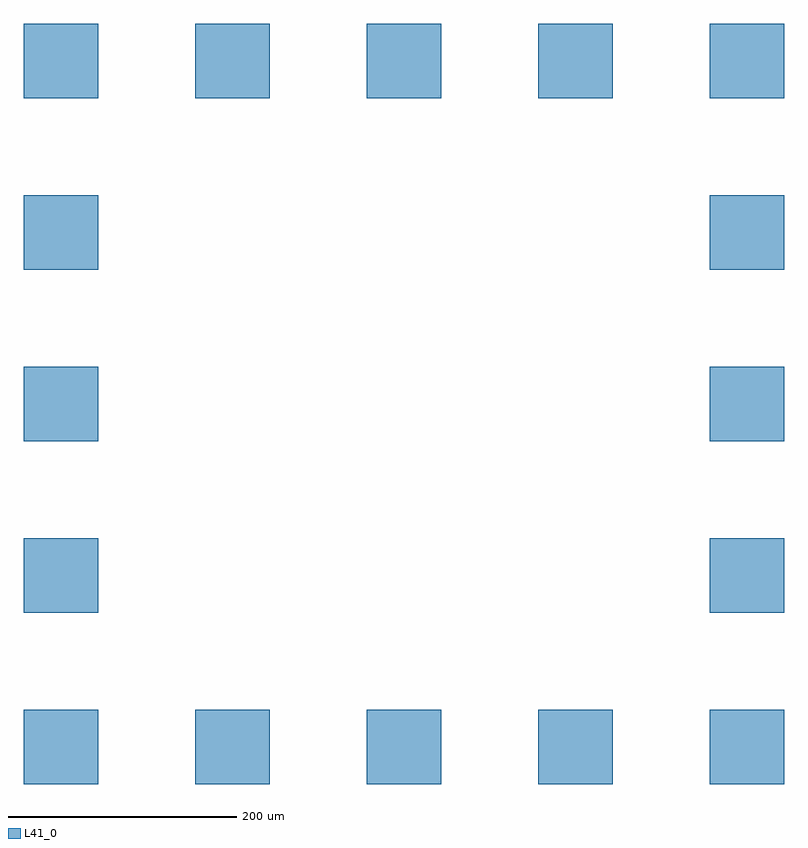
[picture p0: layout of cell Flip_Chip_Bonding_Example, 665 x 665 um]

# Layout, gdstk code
import gdstk
lib = gdstk.Library(unit=1e-6, precision=1e-09)
def R(c, l, rs):  # rectangles x0, y0, x1, y1
    for r in rs: c.add(gdstk.rectangle(r[:2], r[2:], *l))
def A(c, l, x, y, w, h, nx, ny, dx, dy):  # array of equal rectangles
    R(c, l, [(x+i*dx, y+j*dy, x+i*dx+w, y+j*dy+h) for i in range(nx) for j in range(ny)])
L41_0 = (41, 0)

flip_chip_bonding_exampl = lib.new_cell('Flip_Chip_Bonding_Example')
A(flip_chip_bonding_exampl, L41_0, -32.5, -32.5, 65, 65, 5, 2, 150, 600)
A(flip_chip_bonding_exampl, L41_0, -32.5, 117.5, 65, 65, 1, 3, 0, 150)
A(flip_chip_bonding_exampl, L41_0, 567.5, 117.5, 65, 65, 1, 3, 0, 150)

lib.write_gds('Flip_Chip_Bonding_Example.gds')
